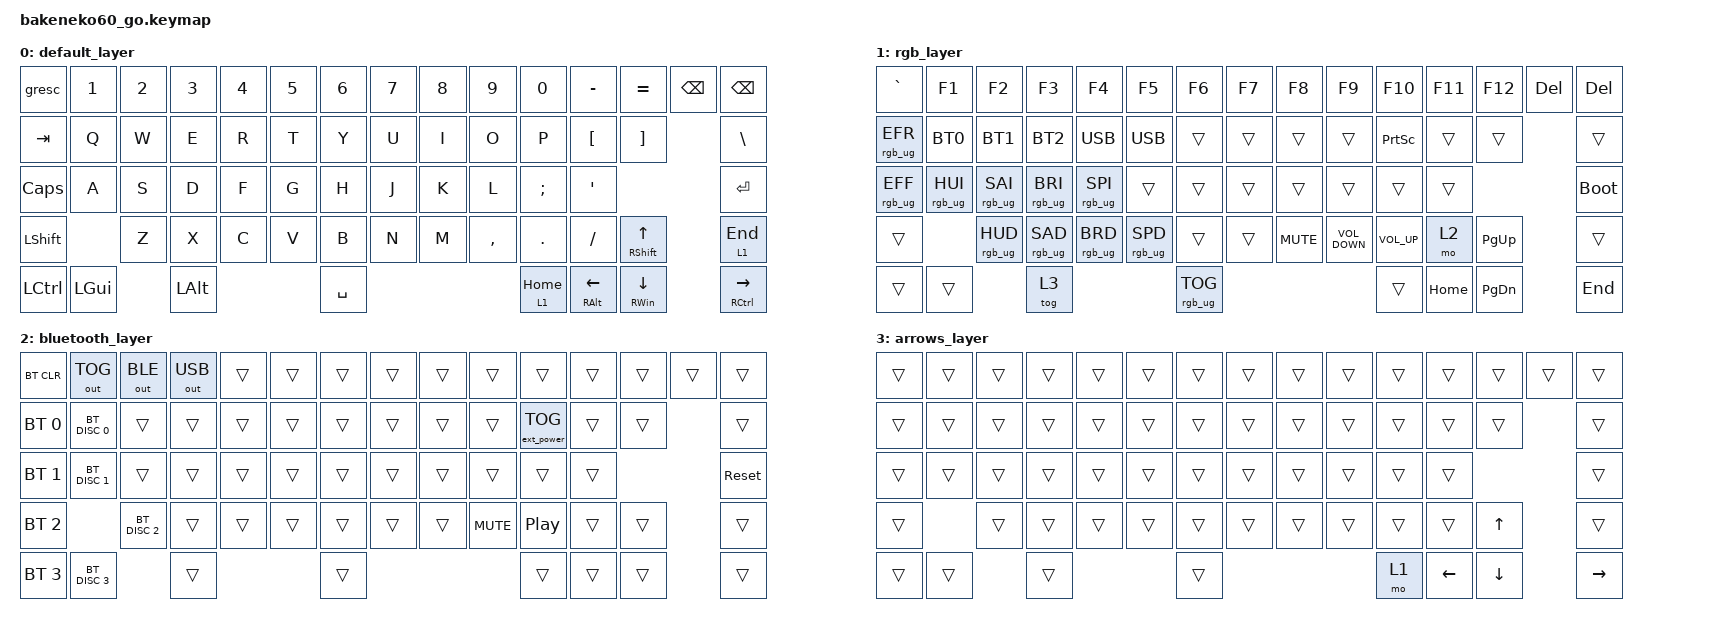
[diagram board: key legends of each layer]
/*
 * Copyright (c) 2023 Andrew Kannan
 *
 * SPDX-License-Identifier: MIT
 */

#include <behaviors.dtsi>
#include <dt-bindings/zmk/bt.h>
#include <dt-bindings/zmk/ext_power.h>
#include <dt-bindings/zmk/keys.h>
#include <dt-bindings/zmk/outputs.h>
#include <dt-bindings/zmk/rgb.h>

&mt {
    quick-tap-ms = <200>;
    tapping-term-ms = <200>;
};

/ {
    macros {
        BT0: BT0 {
            compatible = "zmk,behavior-macro";
            #binding-cells = <0>;
            bindings = <&bt BT_SEL 0 &out OUT_BLE>;
            label = "BT0";
        };

        BT1: BT1 {
            compatible = "zmk,behavior-macro";
            #binding-cells = <0>;
            bindings = <&bt BT_SEL 1 &bt BT_DISC 0 &out OUT_BLE>;
            label = "BT1";
        };

        BT2: BT2 {
            compatible = "zmk,behavior-macro";
            #binding-cells = <0>;
            bindings = <&bt BT_SEL 2 &bt BT_DISC 0 &out OUT_BLE>;
            label = "BT2";
        };

        USB: USB {
            compatible = "zmk,behavior-macro";
            #binding-cells = <0>;
            bindings = <&bt BT_SEL 3 &bt BT_DISC 0 &out OUT_USB>;
            label = "USB";
        };
    };

    keymap {
        compatible = "zmk,keymap";

        default_layer {
            // ------------------------------------------------------------------------------------------
            // | ESC |  1  |  2  |  3  |  4  |  5  |  6  |  7  |  8  |  9  |  0  |  -  |  =  | BKSP|BKSP|
            // | TAB  |  Q  |  W  |  E  |  R  |  T  |  Y  |  U  |  I  |  O  |  P  |  [  |  ]  |   "|"   |
            // | CAPS  |  A  |  S  |  D  |  F  |  G  |  H  |  J  |  K  |  L  |  ;  |  '  |     ENTER    |
            // |  SHIFT  |  Z  |  X  |  C  |  V  |  B  |  N  |  M  |  ,  |  .  |  /  |  SHIFT  | MO(1)  |
            // |  CTL  |  WIN  |  ALT  |            SPACE              |  ALT  |  WIN  |  MO(1) |  CTL  |
            // ------------------------------------------------------------------------------------------

            bindings = <
&gresc     &kp N1    &kp N2  &kp N3    &kp N4  &kp N5  &kp N6     &kp N7  &kp N8  &kp N9     &kp N0      &kp MINUS           &kp EQUAL           &kp BSPC  &kp BSPC
&kp TAB    &kp Q     &kp W   &kp E     &kp R   &kp T   &kp Y      &kp U   &kp I   &kp O      &kp P       &kp LBKT            &kp RBKT                      &kp BSLH
&kp CLCK   &kp A     &kp S   &kp D     &kp F   &kp G   &kp H      &kp J   &kp K   &kp L      &kp SEMI    &kp SQT                                           &kp RET
&kp LSHFT            &kp Z   &kp X     &kp C   &kp V   &kp B      &kp N   &kp M   &kp COMMA  &kp DOT     &kp FSLH            &mt RSHFT UP                  &lt 1 END
&kp LCTRL  &kp LGUI          &kp LALT                  &kp SPACE                             &lt 1 HOME  &mt RIGHT_ALT LEFT  &mt RIGHT_WIN DOWN            &mt RCTRL RIGHT_ARROW
            >;
        };

        rgb_layer {
            // ------------------------------------------------------------------------------------------------
            // |    `   | F1  | F2  | F3  | F4  | F5  | F6  | F7  | F8  | F9  | F10  | F11 | F12 |     | DEL  |
            // | EFCT REV|   |  UP |   | HUEUP | SATUP | BRIUP | SPDUP |      |  PGUP |    |     |    |       |
            // | EFCT FWD | LT |  DN  | RT | HUEDN | SATDN | BRIDN | SPDDN | HOME | PGDN | END  |  | BOOTLDR  |
            // |             |     |      |      |     |     |     |     |     |     |     |         |        |
            // |         |      |      |             TOG RGB                | PRT SCR |       |       |  MO(2)|
            // ------------------------------------------------------------------------------------------------

            bindings = <
&kp GRAVE        &kp F1           &kp F2           &kp F3           &kp F4           &kp F5           &kp F6           &kp F7  &kp F8      &kp F9             &kp F10          &kp F11   &kp F12        &kp DEL  &kp DEL
&rgb_ug RGB_EFR  &BT0             &BT1             &BT2             &USB             &USB             &trans           &trans  &trans      &trans             &kp PRINTSCREEN  &trans    &trans                  &trans
&rgb_ug RGB_EFF  &rgb_ug RGB_HUI  &rgb_ug RGB_SAI  &rgb_ug RGB_BRI  &rgb_ug RGB_SPI  &trans           &trans           &trans  &trans      &trans             &trans           &trans                            &bootloader
&trans                            &rgb_ug RGB_HUD  &rgb_ug RGB_SAD  &rgb_ug RGB_BRD  &rgb_ug RGB_SPD  &trans           &trans  &kp C_MUTE  &kp C_VOLUME_DOWN  &kp C_VOLUME_UP  &mo 2     &kp PG_UP               &trans
&trans           &trans                            &tog 3                                             &rgb_ug RGB_TOG                                         &trans           &kp HOME  &kp PAGE_DOWN           &kp END
            >;
        };

        bluetooth_layer {
            // ------------------------------------------------------------------------------------------------
            // | BT CLR |     |     |     |     |     |     |     |     |     |     |    |    |       |       |
            // |  BT 1   |   |     |   |       |       |       |       |   |     |    |     |     |           |
            // |   BT 2   |    |      |    |       |       |       |       |      |      |      |  |   Reset  |
            // |    BT 3     |     |      |      |     |     |     |     |     |     |     |         |        |
            // |   BT 4  |      |      |                                    |         |       |       |       |
            // ------------------------------------------------------------------------------------------------

            bindings = <
&bt BT_CLR    &out OUT_TOG   &out OUT_BLE   &out OUT_USB  &trans  &trans  &trans  &trans  &trans  &trans      &trans             &trans  &trans  &trans  &trans
&bt BT_SEL 0  &bt BT_DISC 0  &trans         &trans        &trans  &trans  &trans  &trans  &trans  &trans      &ext_power EP_TOG  &trans  &trans          &trans
&bt BT_SEL 1  &bt BT_DISC 1  &trans         &trans        &trans  &trans  &trans  &trans  &trans  &trans      &trans             &trans                  &sys_reset
&bt BT_SEL 2                 &bt BT_DISC 2  &trans        &trans  &trans  &trans  &trans  &trans  &kp C_MUTE  &kp C_PLAY_PAUSE   &trans  &trans          &trans
&bt BT_SEL 3  &bt BT_DISC 3                 &trans                        &trans                              &trans             &trans  &trans          &trans
            >;
        };

        arrows_layer {
            bindings = <
&trans  &trans  &trans  &trans  &trans  &trans  &trans  &trans  &trans  &trans  &trans  &trans    &trans          &trans  &trans
&trans  &trans  &trans  &trans  &trans  &trans  &trans  &trans  &trans  &trans  &trans  &trans    &trans                  &trans
&trans  &trans  &trans  &trans  &trans  &trans  &trans  &trans  &trans  &trans  &trans  &trans                            &trans
&trans          &trans  &trans  &trans  &trans  &trans  &trans  &trans  &trans  &trans  &trans    &kp UP                  &trans
&trans  &trans          &trans                  &trans                          &mo 1   &kp LEFT  &kp DOWN_ARROW          &kp RIGHT
            >;
        };
    };

    combos { compatible = "zmk,combos"; };
};
